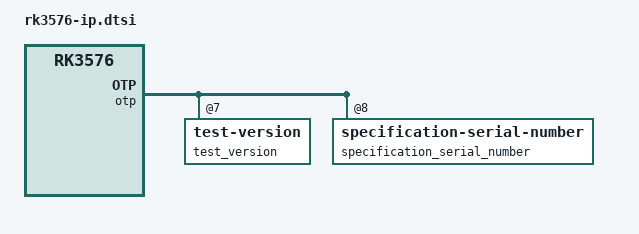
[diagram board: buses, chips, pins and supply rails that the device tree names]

#include "rk3576-vpu.dtsi"
#include "rk3576-npu.dtsi"
#include "rk3576-gpu.dtsi"

&gpu {
	reg = <0x0 0x27800000 0x0 0x20000>;
};

&otp {
	test_version: test-version@7 {
		reg = <0x7 0x1>;
		bits = <0 4>;
	};
	specification_serial_number: specification-serial-number@8 {
		reg = <0x08 0x1>;
		bits = <0 5>;
	};
};

#if 0
// NPU power domain cannot be registered (so no one will switch it off), that will crash system when rknpu probing
// [   12.673716] rockchip-pm-domain 27380000.power-management:power-controller: failed to get ack on domain 'nputop', val=0x11bff
&power {
	/delete-node/ power-domain@RK3576_PD_NPU;
};

&rknpu {
	/delete-property/ power-domains;
	/delete-property/ power-domain-names;
};
#endif

#ifdef DT_RK3576_NO_POWER_DOMAINS
&jpegd {
	/delete-property/ power-domains;
};
&jpege {
	/delete-property/ power-domains;
};
&jpeg_mmu {
	/delete-property/ power-domains;
};
&rga2_core0 {
	/delete-property/ power-domains;
};
&rga2_core0_mmu {
	/delete-property/ power-domains;
};
&rga2_core1 {
	/delete-property/ power-domains;
};
&rga2_core1_mmu {
	/delete-property/ power-domains;
};
&iep {
	/delete-property/ power-domains;
};
&iep_mmu {
	/delete-property/ power-domains;
};
&vdpp {
	/delete-property/ power-domains;
};
&rkvenc0 {
	/delete-property/ power-domains;
};
&rkvenc0_mmu {
	/delete-property/ power-domains;
};
&rkvenc1 {
	/delete-property/ power-domains;
};
&rkvenc1_mmu {
	/delete-property/ power-domains;
};
&rkvdec {
	/delete-property/ power-domains;
};
&rkvdec_mmu {
	/delete-property/ power-domains;
};
#endif
